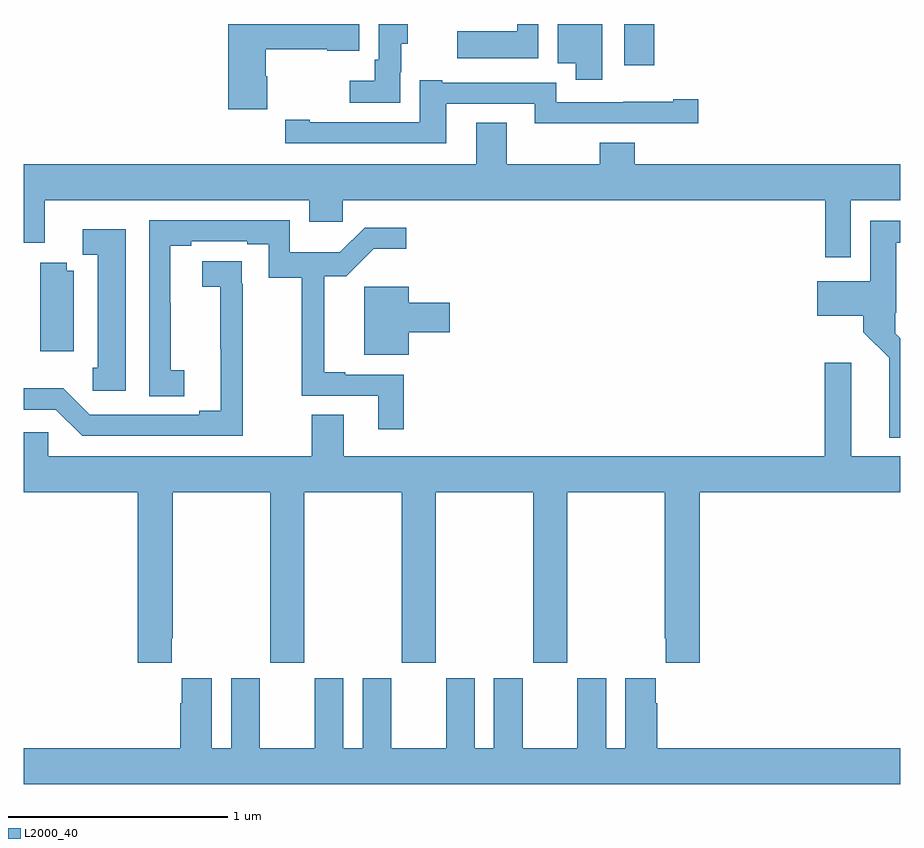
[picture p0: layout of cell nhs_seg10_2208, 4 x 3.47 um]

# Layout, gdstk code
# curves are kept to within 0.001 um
import gdstk
lib = gdstk.Library(unit=1e-6, precision=1e-09)
def R(c, l, rs):  # rectangles x0, y0, x1, y1
    for r in rs: c.add(gdstk.rectangle(r[:2], r[2:], *l))
def P(c, l, *ps):  # polygons
    for p in ps: c.add(gdstk.Polygon(p, *l))
L2000_40 = (2000, 40)

nhs_seg10_2208 = lib.new_cell('nhs_seg10_2208')
R(nhs_seg10_2208, L2000_40, [(231.74,1254.312,231.878,1254.5)])
P(nhs_seg10_2208, L2000_40, [(230.718,1254.279),(230.723,1254.279),(230.723,1254.41),(230.752,1254.41),(230.752,1254.5),(230.621,1254.5),(230.621,1254.337),(230.602,1254.337),(230.602,1254.241),(230.487,1254.241),(230.487,1254.14),(230.718,1254.14)],
  [(231.348,1254.5),(231.252,1254.5),(231.252,1254.466),(230.979,1254.466),(230.979,1254.344),(231.348,1254.344)],
  [(230.112,1254.261),(230.104,1254.261),(230.104,1254.384),(230.385,1254.384),(230.385,1254.377),(230.53,1254.377),(230.53,1254.5),(229.934,1254.5),(229.934,1254.111),(230.112,1254.111)],
  [(231.64,1254.5),(231.437,1254.5),(231.437,1254.32),(231.518,1254.32),(231.518,1254.246),(231.64,1254.246)],
  [(230.929,1254.135),(231.333,1254.135),(231.333,1254.047),(231.539,1254.047),(231.539,1254.048),(232.078,1254.048),(232.078,1254.157),(231.965,1254.157),(231.965,1254.145),(231.736,1254.145),(231.736,1254.144),(231.429,1254.144),(231.429,1254.231),(230.911,1254.231),(230.911,1254.244),(230.807,1254.244),(230.807,1254.051),(230.305,1254.051),(230.305,1254.064),(230.193,1254.064),(230.193,1253.955),(230.929,1253.955)],
  [(232.773,1253.696),(233,1253.696),(233,1253.86),(231.788,1253.86),(231.788,1253.959),(231.628,1253.959),(231.628,1253.86),(231.205,1253.86),(231.205,1254.05),(231.065,1254.05),(231.065,1253.86),(229,1253.86),(229,1253.502),(229.096,1253.502),(229.096,1253.696),(230.303,1253.696),(230.303,1253.598),(230.455,1253.598),(230.455,1253.696),(232.657,1253.696),(232.657,1253.436),(232.773,1253.436)],
  [(230.735,1252.899),(230.467,1252.899),(230.467,1252.912),(230.372,1252.912),(230.372,1253.349),(230.471,1253.349),(230.597,1253.474),(230.746,1253.474),(230.746,1253.571),(230.556,1253.571),(230.443,1253.458),(230.214,1253.458),(230.214,1253.604),(229.572,1253.604),(229.572,1252.801),(229.732,1252.801),(229.732,1252.921),(229.671,1252.921),(229.671,1253.225),(229.669,1253.225),(229.669,1253.488),(229.765,1253.488),(229.765,1253.508),(230.021,1253.508),(230.021,1253.494),(230.118,1253.494),(230.118,1253.341),(230.269,1253.341),(230.269,1252.803),(230.618,1252.803),(230.618,1252.65),(230.735,1252.65)],
  [(233,1253.065),(232.977,1253.088),(232.977,1253.182),(232.981,1253.182),(232.981,1253.501),(233,1253.501),(233,1253.602),(232.862,1253.602),(232.862,1253.326),(232.62,1253.326),(232.62,1253.168),(232.832,1253.168),(232.832,1253.094),(232.95,1252.976),(232.949,1252.613),(233,1252.613)],
  [(229.465,1253.563),(229.269,1253.563),(229.269,1253.448),(229.337,1253.448),(229.337,1252.932),(229.315,1252.932),(229.315,1252.827),(229.465,1252.827)],
  [(230,1253.315),(229.994,1253.315),(229.994,1253.417),(229.815,1253.417),(229.815,1253.302),(229.897,1253.302),(229.898,1252.736),(229.802,1252.736),(229.802,1252.716),(229.302,1252.716),(229.181,1252.837),(229,1252.837),(229,1252.74),(229.146,1252.74),(229.266,1252.62),(230,1252.62)],
  [(229.228,1253.374),(229.196,1253.374),(229.196,1253.411),(229.076,1253.411),(229.076,1253.007),(229.228,1253.007)],
  [(230.758,1253.093),(230.944,1253.093),(230.944,1253.227),(230.758,1253.227),(230.758,1253.301),(230.555,1253.301),(230.555,1252.991),(230.758,1252.991)],
  [(229,1252.638),(229,1252.364),(229.52,1252.364),(229.52,1251.585),(229.675,1251.585),(229.675,1251.697),(229.68,1251.697),(229.68,1252.364),(230.125,1252.364),(230.125,1251.585),(230.28,1251.585),(230.28,1252.364),(230.725,1252.364),(230.725,1251.585),(230.88,1251.585),(230.88,1252.364),(231.325,1252.364),(231.325,1251.585),(231.48,1251.585),(231.48,1252.364),(231.925,1252.364),(231.925,1251.697),(231.929,1251.697),(231.929,1251.585),(232.085,1251.585),(232.085,1252.364),(233,1252.364),(233,1252.528),(232.777,1252.528),(232.777,1252.954),(232.655,1252.954),(232.655,1252.528),(230.461,1252.528),(230.461,1252.718),(230.314,1252.718),(230.314,1252.528),(229.113,1252.528),(229.113,1252.638)],
  [(230.546,1251.514),(230.546,1251.196),(230.458,1251.196),(230.458,1251.514),(230.327,1251.514),(230.327,1251.196),(230.077,1251.196),(230.077,1251.514),(229.946,1251.514),(229.946,1251.196),(229.858,1251.196),(229.858,1251.514),(229.721,1251.514),(229.721,1251.401),(229.715,1251.401),(229.715,1251.196),(229,1251.196),(229,1251.032),(233,1251.032),(233,1251.196),(231.89,1251.196),(231.89,1251.401),(231.883,1251.401),(231.883,1251.514),(231.746,1251.514),(231.746,1251.196),(231.658,1251.196),(231.658,1251.514),(231.527,1251.514),(231.527,1251.196),(231.277,1251.196),(231.277,1251.514),(231.146,1251.514),(231.146,1251.196),(231.058,1251.196),(231.058,1251.514),(230.927,1251.514),(230.927,1251.196),(230.677,1251.196),(230.677,1251.514)])

lib.write_gds('nhs_seg10_2208.gds')
